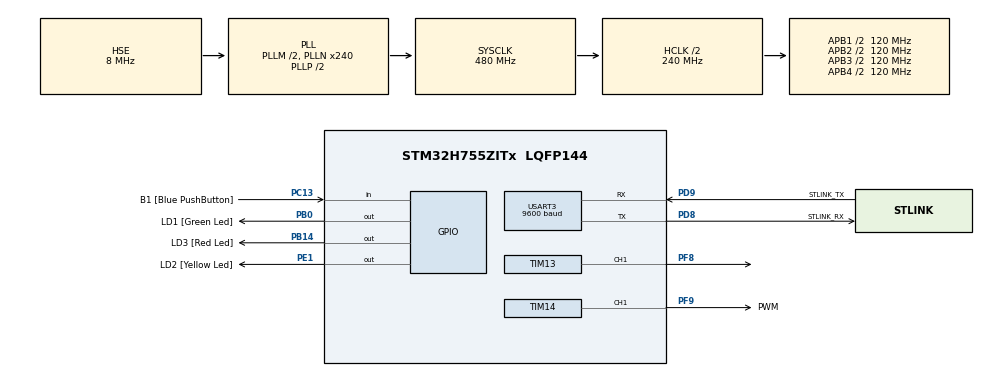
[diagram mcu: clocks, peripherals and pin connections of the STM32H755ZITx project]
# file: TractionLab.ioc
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CortexM4.IPs=BDMA,CORTEX_M4\:I,DEBUG,DMA,FATFS_M4\:I,FREERTOS_M4\:I,GPIO,IWDG2\:I,MDMA,NVIC2\:I,OPENAMP_M4\:I,PDM2PCM_M4\:I,PWR,RCC,RESMGR_UTILITY,SYS_M4\:I,USB_DEVICE_M4\:I,USB_HOST_M4\:I,VREFBUF,WWDG2\:I,USART3
CortexM4.Pins=PB0,PE1
CortexM7.IPs=BDMA\:I,CORTEX_M7\:I,DEBUG\:I,DMA\:I,FATFS_M7\:I,FREERTOS_M7\:I,GPIO\:I,IWDG1\:I,MDMA\:I,NVIC1\:I,OPENAMP_M7\:I,PDM2PCM_M7\:I,PWR\:I,RCC\:I,RESMGR_UTILITY\:I,SYS\:I,USB_DEVICE_M7\:I,USB_HOST_M7\:I,VREFBUF\:I,WWDG1\:I,USART3\:I,TIM13\:I,TIM14\:I
CortexM7.Pins=PC13,PB14
Mcu.Family=STM32H7
Mcu.Name=STM32H755ZITx
Mcu.Package=LQFP144
NVIC1.PriorityGroup=NVIC_PRIORITYGROUP_4
NVIC2.PriorityGroup=NVIC_PRIORITYGROUP_4
PB0.GPIO_Label=LD1 [Green Led]
PB0.PinAttribute=CortexM4
PB0.Signal=GPIO_Output
PB14.GPIO_Label=LD3 [Red Led]
PB14.PinAttribute=CortexM7
PB14.Signal=GPIO_Output
PC13.GPIO_Label=B1 [Blue PushButton]
PC13.PinAttribute=CortexM7
PC13.Signal=GPIO_Input
PC14-OSC32_IN\ (OSC32_IN).Mode=LSE-External-Oscillator
PC14-OSC32_IN\ (OSC32_IN).PinAttribute=CortexM7
PC14-OSC32_IN\ (OSC32_IN).Signal=RCC_OSC32_IN
PC15-OSC32_OUT\ (OSC32_OUT).Mode=LSE-External-Oscillator
PC15-OSC32_OUT\ (OSC32_OUT).PinAttribute=CortexM7
PC15-OSC32_OUT\ (OSC32_OUT).Signal=RCC_OSC32_OUT
PD8.GPIO_Label=STLINK_RX
PD8.Mode=Asynchronous
PD8.PinAttribute=CortexM7
PD8.Signal=USART3_TX
PD9.GPIO_Label=STLINK_TX
PD9.Mode=Asynchronous
PD9.PinAttribute=CortexM7
PD9.Signal=USART3_RX
PE1.GPIO_Label=LD2 [Yellow Led]
PE1.PinAttribute=CortexM4
PE1.Signal=GPIO_Output
PF8.PinAttribute=CortexM7
PF8.Signal=S_TIM13_CH1
PF9.GPIO_Label=PWM
PF9.PinAttribute=CortexM7
PF9.Signal=S_TIM14_CH1
PH0-OSC_IN\ (PH0).Mode=HSE-External-Clock-Source
PH0-OSC_IN\ (PH0).PinAttribute=CortexM7
PH0-OSC_IN\ (PH0).Signal=RCC_OSC_IN
ProjectManager.HeapSize=M4-0x200,M7-0x200
ProjectManager.StackSize=M4-0x400,M7-0x400
ProjectManager.TargetToolchain=STM32CubeIDE
RCC.ADCFreq_Value=16125000
RCC.APB1Freq_Value=120000000
RCC.APB2Freq_Value=120000000
RCC.APB3Freq_Value=120000000
RCC.APB4Freq_Value=120000000
RCC.CortexFreq_Value=480000000
RCC.D1PPRE=RCC_APB3_DIV2
RCC.D2PPRE1=RCC_APB1_DIV2
RCC.D2PPRE2=RCC_APB2_DIV2
RCC.D3PPRE=RCC_APB4_DIV2
RCC.DIVM1=2
RCC.DIVN1=240
RCC.HCLKFreq_Value=240000000
RCC.HPRE=RCC_HCLK_DIV2
RCC.HSE_VALUE=8000000
RCC.PLLSourceVirtual=RCC_PLLSOURCE_HSE
RCC.SYSCLKFreq_VALUE=480000000
RCC.SYSCLKSource=RCC_SYSCLKSOURCE_PLLCLK
RCC.USBFreq_Value=480000000
SH.S_TIM13_CH1.0=TIM13_CH1,PWM Generation1 CH1
SH.S_TIM14_CH1.0=TIM14_CH1,PWM Generation1 CH1
TIM13.Channel=TIM_CHANNEL_1
TIM13.Period=64863
TIM13.Prescaler=73
TIM14.Channel=TIM_CHANNEL_1
TIM14.Period=63999
TIM14.Prescaler=74
USART3.BaudRate=9600
USART3.VirtualMode-Asynchronous=VM_ASYNC
VP_TIM13_VS_ClockSourceINT.Mode=Enable_Timer
VP_TIM14_VS_ClockSourceINT.Mode=Enable_Timer
board=custom

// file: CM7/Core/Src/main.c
/* USER CODE BEGIN Header */
/**
  ******************************************************************************
  * @file           : main.c
  * @brief          : Main program body
  ******************************************************************************
  * @attention
  *
  * Copyright (c) 2024 STMicroelectronics.
  * All rights reserved.
  *
  * This software is licensed under terms that can be found in the LICENSE file
  * in the root directory of this software component.
  * If no LICENSE file comes with this software, it is provided AS-IS.
  *
  ******************************************************************************
  */
/* USER CODE END Header */
#include "main.h"

/* USER CODE BEGIN PD */

#ifndef HSEM_ID_0
#define HSEM_ID_0 (0U) /* HW semaphore 0*/
#endif
/* USER CODE END PD */

TIM_HandleTypeDef htim13;
TIM_HandleTypeDef htim14;

UART_HandleTypeDef huart3;

void SystemClock_Config(void);
static void MX_GPIO_Init(void);
static void MX_USART3_UART_Init(void);
static void MX_TIM13_Init(void);
static void MX_TIM14_Init(void);

int main(void)
{
  /* USER CODE BEGIN 1 */
  float setpoint;
  /* USER CODE END 1 */
/* USER CODE BEGIN Boot_Mode_Sequence_0 */
  int32_t timeout;
/* USER CODE END Boot_Mode_Sequence_0 */

/* USER CODE BEGIN Boot_Mode_Sequence_1 */
  /* Wait until CPU2 boots and enters in stop mode or timeout*/
  timeout = 0xFFFF;
  while((__HAL_RCC_GET_FLAG(RCC_FLAG_D2CKRDY) != RESET) && (timeout-- > 0));
  if ( timeout < 0 )
  {
  Error_Handler();
  }
/* USER CODE END Boot_Mode_Sequence_1 */
  /* MCU Configuration--------------------------------------------------------*/

  /* Reset of all peripherals, Initializes the Flash interface and the Systick. */
  HAL_Init();

  /* Configure the system clock */
  SystemClock_Config();
/* USER CODE BEGIN Boot_Mode_Sequence_2 */
/* When system initialization is finished, Cortex-M7 will release Cortex-M4 by means of
HSEM notification */
/*HW semaphore Clock enable*/
__HAL_RCC_HSEM_CLK_ENABLE();
/*Take HSEM */
HAL_HSEM_FastTake(HSEM_ID_0);
/*Release HSEM in order to notify the CPU2(CM4)*/
HAL_HSEM_Release(HSEM_ID_0,0);
/* wait until CPU2 wakes up from stop mode */
timeout = 0xFFFF;
while((__HAL_RCC_GET_FLAG(RCC_FLAG_D2CKRDY) == RESET) && (timeout-- > 0));
if ( timeout < 0 )
{
Error_Handler();
}
/* USER CODE END Boot_Mode_Sequence_2 */

  /* Initialize all configured peripherals */
  MX_GPIO_Init();
  MX_USART3_UART_Init();
  MX_TIM13_Init();
  MX_TIM14_Init();
  /* USER CODE BEGIN 2 */

  if (HAL_TIM_PWM_Start(&htim14, TIM_CHANNEL_1) != HAL_OK) {
	  Error_Handler();
  }

  /* USER CODE END 2 */

  /* Infinite loop */
  /* USER CODE BEGIN WHILE */
  while (1)
  {
	  // Backward
	  while(setpoint*100 < 101){
		  setpoint += 0.01f;
		  TIM14->CCR1 = (uint32_t)((63999*0.05)+(63999*0.05*setpoint));
		  HAL_Delay(100);
	  }
	  setpoint = 0.5f;
	  HAL_Delay(2000);
	  // Forward
	  while(setpoint*100 > -1){
		  setpoint -= 0.01f;
		  TIM14->CCR1 = (uint32_t)((63999*0.05)+(63999*0.05*setpoint));
		  HAL_Delay(100);
	  }
	  setpoint = 0.5f;
	  HAL_Delay(2000);

    /* USER CODE END WHILE */

  }
}

void SystemClock_Config(void)
{
  RCC_OscInitTypeDef RCC_OscInitStruct = {0};
  RCC_ClkInitTypeDef RCC_ClkInitStruct = {0};

  /** Supply configuration update enable
  */
  HAL_PWREx_ConfigSupply(PWR_DIRECT_SMPS_SUPPLY);

  /** Configure the main internal regulator output voltage
  */
  __HAL_PWR_VOLTAGESCALING_CONFIG(PWR_REGULATOR_VOLTAGE_SCALE0);

  while(!__HAL_PWR_GET_FLAG(PWR_FLAG_VOSRDY)) {}

  /** Initializes the RCC Oscillators according to the specified parameters
  * in the RCC_OscInitTypeDef structure.
  */
  RCC_OscInitStruct.OscillatorType = RCC_OSCILLATORTYPE_HSE;
  RCC_OscInitStruct.HSEState = RCC_HSE_BYPASS;
  RCC_OscInitStruct.PLL.PLLState = RCC_PLL_ON;
  RCC_OscInitStruct.PLL.PLLSource = RCC_PLLSOURCE_HSE;
  RCC_OscInitStruct.PLL.PLLM = 2;
  RCC_OscInitStruct.PLL.PLLN = 240;
  RCC_OscInitStruct.PLL.PLLP = 2;
  RCC_OscInitStruct.PLL.PLLQ = 2;
  RCC_OscInitStruct.PLL.PLLR = 2;
  RCC_OscInitStruct.PLL.PLLRGE = RCC_PLL1VCIRANGE_2;
  RCC_OscInitStruct.PLL.PLLVCOSEL = RCC_PLL1VCOWIDE;
  RCC_OscInitStruct.PLL.PLLFRACN = 0;
  if (HAL_RCC_OscConfig(&RCC_OscInitStruct) != HAL_OK)
  {
    Error_Handler();
  }

  /** Initializes the CPU, AHB and APB buses clocks
  */
  RCC_ClkInitStruct.ClockType = RCC_CLOCKTYPE_HCLK|RCC_CLOCKTYPE_SYSCLK
                              |RCC_CLOCKTYPE_PCLK1|RCC_CLOCKTYPE_PCLK2
                              |RCC_CLOCKTYPE_D3PCLK1|RCC_CLOCKTYPE_D1PCLK1;
  RCC_ClkInitStruct.SYSCLKSource = RCC_SYSCLKSOURCE_PLLCLK;
  RCC_ClkInitStruct.SYSCLKDivider = RCC_SYSCLK_DIV1;
  RCC_ClkInitStruct.AHBCLKDivider = RCC_HCLK_DIV2;
  RCC_ClkInitStruct.APB3CLKDivider = RCC_APB3_DIV2;
  RCC_ClkInitStruct.APB1CLKDivider = RCC_APB1_DIV2;
  RCC_ClkInitStruct.APB2CLKDivider = RCC_APB2_DIV2;
  RCC_ClkInitStruct.APB4CLKDivider = RCC_APB4_DIV2;

  if (HAL_RCC_ClockConfig(&RCC_ClkInitStruct, FLASH_LATENCY_4) != HAL_OK)
  {
    Error_Handler();
  }
}

static void MX_TIM13_Init(void)
{

  TIM_OC_InitTypeDef sConfigOC = {0};

  htim13.Instance = TIM13;
  htim13.Init.Prescaler = 73;
  htim13.Init.CounterMode = TIM_COUNTERMODE_UP;
  htim13.Init.Period = 64863;
  htim13.Init.ClockDivision = TIM_CLOCKDIVISION_DIV1;
  htim13.Init.AutoReloadPreload = TIM_AUTORELOAD_PRELOAD_DISABLE;
  if (HAL_TIM_Base_Init(&htim13) != HAL_OK)
  {
    Error_Handler();
  }
  if (HAL_TIM_PWM_Init(&htim13) != HAL_OK)
  {
    Error_Handler();
  }
  sConfigOC.OCMode = TIM_OCMODE_PWM1;
  sConfigOC.Pulse = 0;
  sConfigOC.OCPolarity = TIM_OCPOLARITY_HIGH;
  sConfigOC.OCFastMode = TIM_OCFAST_DISABLE;
  if (HAL_TIM_PWM_ConfigChannel(&htim13, &sConfigOC, TIM_CHANNEL_1) != HAL_OK)
  {
    Error_Handler();
  }
  HAL_TIM_MspPostInit(&htim13);

}

static void MX_TIM14_Init(void)
{

  TIM_OC_InitTypeDef sConfigOC = {0};

  htim14.Instance = TIM14;
  htim14.Init.Prescaler = 74;
  htim14.Init.CounterMode = TIM_COUNTERMODE_UP;
  htim14.Init.Period = 63999;
  htim14.Init.ClockDivision = TIM_CLOCKDIVISION_DIV1;
  htim14.Init.AutoReloadPreload = TIM_AUTORELOAD_PRELOAD_DISABLE;
  if (HAL_TIM_Base_Init(&htim14) != HAL_OK)
  {
    Error_Handler();
  }
  if (HAL_TIM_PWM_Init(&htim14) != HAL_OK)
  {
    Error_Handler();
  }
  sConfigOC.OCMode = TIM_OCMODE_PWM1;
  sConfigOC.Pulse = 0;
  sConfigOC.OCPolarity = TIM_OCPOLARITY_HIGH;
  sConfigOC.OCFastMode = TIM_OCFAST_DISABLE;
  if (HAL_TIM_PWM_ConfigChannel(&htim14, &sConfigOC, TIM_CHANNEL_1) != HAL_OK)
  {
    Error_Handler();
  }
  HAL_TIM_MspPostInit(&htim14);

}

static void MX_USART3_UART_Init(void)
{

  huart3.Instance = USART3;
  huart3.Init.BaudRate = 9600;
  huart3.Init.WordLength = UART_WORDLENGTH_8B;
  huart3.Init.StopBits = UART_STOPBITS_1;
  huart3.Init.Parity = UART_PARITY_NONE;
  huart3.Init.Mode = UART_MODE_TX_RX;
  huart3.Init.HwFlowCtl = UART_HWCONTROL_NONE;
  huart3.Init.OverSampling = UART_OVERSAMPLING_16;
  huart3.Init.OneBitSampling = UART_ONE_BIT_SAMPLE_DISABLE;
  huart3.Init.ClockPrescaler = UART_PRESCALER_DIV1;
  huart3.AdvancedInit.AdvFeatureInit = UART_ADVFEATURE_NO_INIT;
  if (HAL_UART_Init(&huart3) != HAL_OK)
  {
    Error_Handler();
  }
  if (HAL_UARTEx_SetTxFifoThreshold(&huart3, UART_TXFIFO_THRESHOLD_1_8) != HAL_OK)
  {
    Error_Handler();
  }
  if (HAL_UARTEx_SetRxFifoThreshold(&huart3, UART_RXFIFO_THRESHOLD_1_8) != HAL_OK)
  {
    Error_Handler();
  }
  if (HAL_UARTEx_DisableFifoMode(&huart3) != HAL_OK)
  {
    Error_Handler();
  }

}

static void MX_GPIO_Init(void)
{
  GPIO_InitTypeDef GPIO_InitStruct = {0};

  /* GPIO Ports Clock Enable */
  __HAL_RCC_GPIOC_CLK_ENABLE();
  __HAL_RCC_GPIOF_CLK_ENABLE();
  __HAL_RCC_GPIOH_CLK_ENABLE();
  __HAL_RCC_GPIOB_CLK_ENABLE();
  __HAL_RCC_GPIOD_CLK_ENABLE();

  /*Configure GPIO pin Output Level */
  HAL_GPIO_WritePin(LD3_GPIO_Port, LD3_Pin, GPIO_PIN_RESET);

  /*Configure GPIO pin : B1_Pin */
  GPIO_InitStruct.Pin = B1_Pin;
  GPIO_InitStruct.Mode = GPIO_MODE_INPUT;
  GPIO_InitStruct.Pull = GPIO_NOPULL;
  HAL_GPIO_Init(B1_GPIO_Port, &GPIO_InitStruct);

  /*Configure GPIO pin : LD3_Pin */
  GPIO_InitStruct.Pin = LD3_Pin;
  GPIO_InitStruct.Mode = GPIO_MODE_OUTPUT_PP;
  GPIO_InitStruct.Pull = GPIO_NOPULL;
  GPIO_InitStruct.Speed = GPIO_SPEED_FREQ_LOW;
  HAL_GPIO_Init(LD3_GPIO_Port, &GPIO_InitStruct);

}

void Error_Handler(void)
{
  __disable_irq();
  while (1)
  {
  }
}
